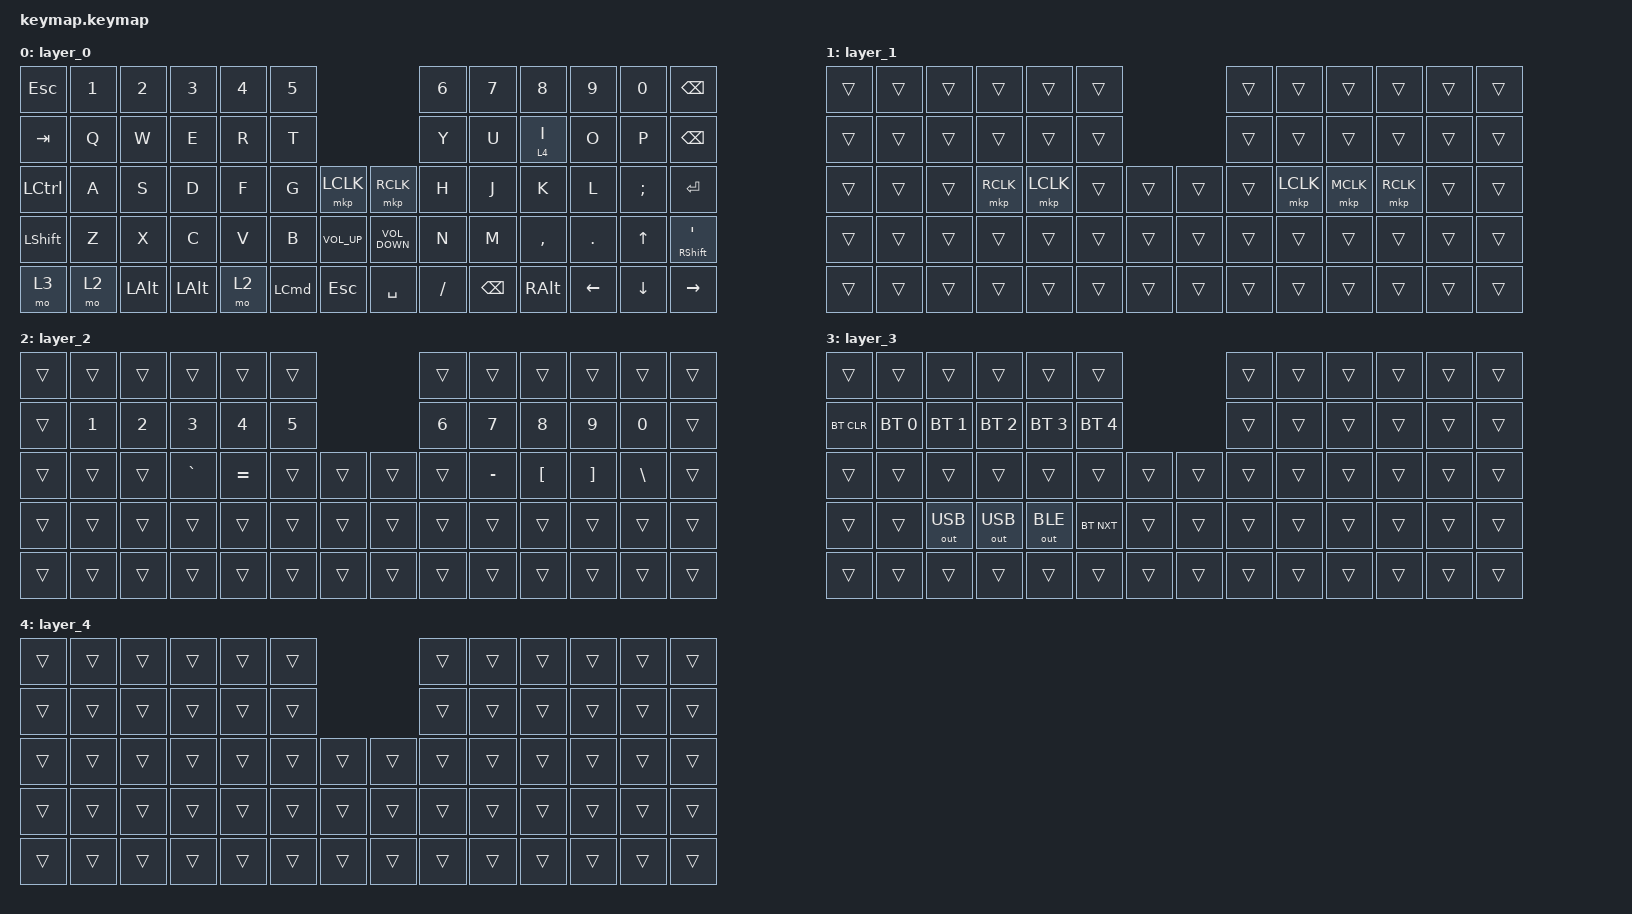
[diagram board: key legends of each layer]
#include <behaviors.dtsi>
#include <dt-bindings/zmk/bt.h>
#include <dt-bindings/zmk/keys.h>
#include <dt-bindings/zmk/outputs.h>
#include <dt-bindings/zmk/pointing.h>

/ {
    combos {
        compatible = "zmk,combos";

        bt_clear {
            bindings = <&bt BT_CLR>;
            key-positions = <28 29>;
            layers = <2>;
        };
    };

    keymap {
        compatible = "zmk,keymap";

        layer_0 {
            bindings = <
&kp ESC    &kp N1  &kp N2    &kp N3    &kp N4  &kp N5                                             &kp N6     &kp N7    &kp N8     &kp N9          &kp N0          &kp BSPC
&kp TAB    &kp Q   &kp W     &kp E     &kp R   &kp T                                              &kp Y      &kp U     &lt 4 I    &kp O           &kp P           &kp BSPC
&kp LCTRL  &kp A   &kp S     &kp D     &kp F   &kp G             &mkp LCLK     &mkp RCLK          &kp H      &kp J     &kp K      &kp L           &kp SEMI        &kp ENTER
&kp LSHFT  &kp Z   &kp X     &kp C     &kp V   &kp B             &kp C_VOL_UP  &kp C_VOLUME_DOWN  &kp N      &kp M     &kp COMMA  &kp DOT         &kp UP_ARROW    &mt RIGHT_SHIFT SINGLE_QUOTE
&mo 3      &mo 2   &kp LALT  &kp LALT  &mo 2   &kp LEFT_COMMAND  &kp ESCAPE    &kp SPACE          &kp SLASH  &kp BSPC  &kp RALT   &kp LEFT_ARROW  &kp DOWN_ARROW  &kp RIGHT_ARROW
            >;
        };

        layer_1 {
            bindings = <
&trans  &trans  &trans  &trans     &trans     &trans                  &trans  &trans     &trans     &trans     &trans  &trans
&trans  &trans  &trans  &trans     &trans     &trans                  &trans  &trans     &trans     &trans     &trans  &trans
&trans  &trans  &trans  &mkp RCLK  &mkp LCLK  &trans  &trans  &trans  &trans  &mkp LCLK  &mkp MCLK  &mkp RCLK  &trans  &trans
&trans  &trans  &trans  &trans     &trans     &trans  &trans  &trans  &trans  &trans     &trans     &trans     &trans  &trans
&trans  &trans  &trans  &trans     &trans     &trans  &trans  &trans  &trans  &trans     &trans     &trans     &trans  &trans
            >;
        };

        layer_2 {
            bindings = <
&trans  &trans        &trans        &trans     &trans     &trans                  &trans  &trans     &trans            &trans             &trans         &trans
&trans  &kp NUMBER_1  &kp NUMBER_2  &kp N3     &kp N4     &kp N5                  &kp N6  &kp N7     &kp N8            &kp N9             &kp N0         &trans
&trans  &trans        &trans        &kp GRAVE  &kp EQUAL  &trans  &trans  &trans  &trans  &kp MINUS  &kp LEFT_BRACKET  &kp RIGHT_BRACKET  &kp BACKSLASH  &trans
&trans  &trans        &trans        &trans     &trans     &trans  &trans  &trans  &trans  &trans     &trans            &trans             &trans         &trans
&trans  &trans        &trans        &trans     &trans     &trans  &trans  &trans  &trans  &trans     &trans            &trans             &trans         &trans
            >;
        };

        layer_3 {
            bindings = <
&trans      &trans        &trans        &trans        &trans        &trans                        &trans  &trans  &trans  &trans  &trans  &trans
&bt BT_CLR  &bt BT_SEL 0  &bt BT_SEL 1  &bt BT_SEL 2  &bt BT_SEL 3  &bt BT_SEL 4                  &trans  &trans  &trans  &trans  &trans  &trans
&trans      &trans        &trans        &trans        &trans        &trans        &trans  &trans  &trans  &trans  &trans  &trans  &trans  &trans
&trans      &trans        &out OUT_USB  &out OUT_USB  &out OUT_BLE  &bt BT_NXT    &trans  &trans  &trans  &trans  &trans  &trans  &trans  &trans
&trans      &trans        &trans        &trans        &trans        &trans        &trans  &trans  &trans  &trans  &trans  &trans  &trans  &trans
            >;
        };

        layer_4 {
            bindings = <
&trans  &trans  &trans  &trans  &trans  &trans                  &trans  &trans  &trans  &trans  &trans  &trans
&trans  &trans  &trans  &trans  &trans  &trans                  &trans  &trans  &trans  &trans  &trans  &trans
&trans  &trans  &trans  &trans  &trans  &trans  &trans  &trans  &trans  &trans  &trans  &trans  &trans  &trans
&trans  &trans  &trans  &trans  &trans  &trans  &trans  &trans  &trans  &trans  &trans  &trans  &trans  &trans
&trans  &trans  &trans  &trans  &trans  &trans  &trans  &trans  &trans  &trans  &trans  &trans  &trans  &trans
            >;
        };
    };
};
